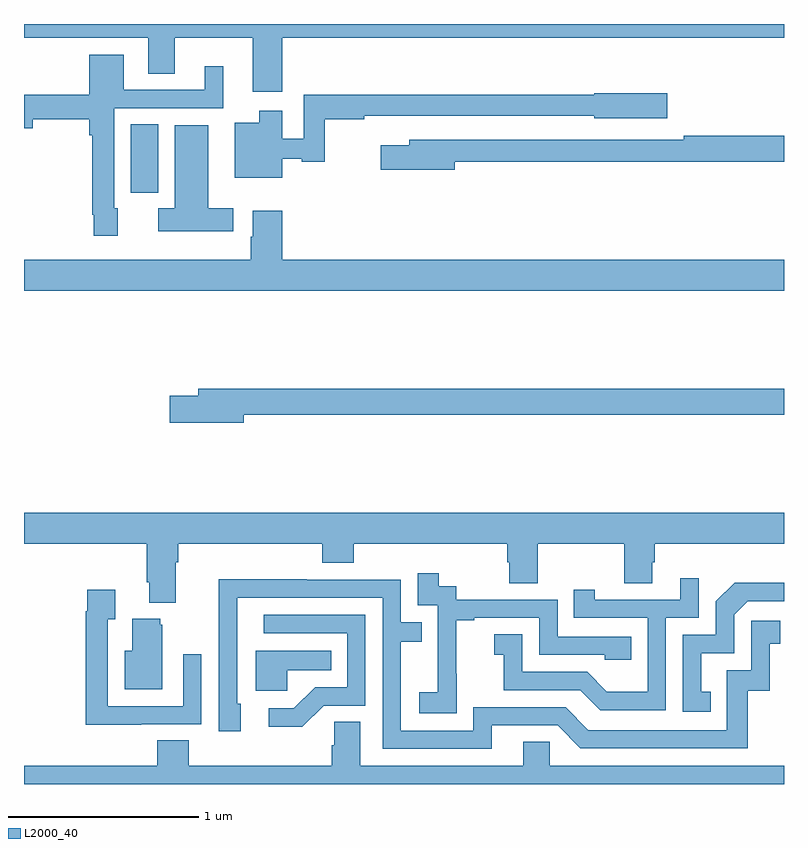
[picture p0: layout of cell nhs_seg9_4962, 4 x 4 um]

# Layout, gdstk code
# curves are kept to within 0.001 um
import gdstk
lib = gdstk.Library(unit=1e-6, precision=1e-09)
def R(c, l, rs):  # rectangles x0, y0, x1, y1
    for r in rs: c.add(gdstk.rectangle(r[:2], r[2:], *l))
def P(c, l, *ps):  # polygons
    for p in ps: c.add(gdstk.Polygon(p, *l))
L2000_40 = (2000, 40)

nhs_seg9_4962 = lib.new_cell('nhs_seg9_4962')
R(nhs_seg9_4962, L2000_40, [(399.563,1187.611,399.706,1187.972)])
P(nhs_seg9_4962, L2000_40, [(400.358,1188.428),(403,1188.428),(403,1188.5),(399,1188.5),(399,1188.428),(399.653,1188.428),(399.653,1188.238),(399.793,1188.238),(399.793,1188.428),(400.205,1188.428),(400.205,1188.144),(400.358,1188.144)],
  [(399.493,1187.529),(399.474,1187.529),(399.474,1188.057),(400.048,1188.057),(400.048,1188.277),(399.95,1188.277),(399.95,1188.153),(399.526,1188.153),(399.526,1188.337),(399.344,1188.337),(399.344,1188.127),(399,1188.127),(399,1187.951),(399.046,1187.951),(399.046,1187.998),(399.344,1187.998),(399.344,1187.915),(399.358,1187.915),(399.358,1187.497),(399.366,1187.497),(399.366,1187.385),(399.493,1187.385)],
  [(400.36,1187.791),(400.461,1187.791),(400.461,1187.776),(400.582,1187.776),(400.582,1187.998),(400.79,1187.998),(400.79,1188.018),(402,1188.018),(402,1188.005),(402.385,1188.005),(402.385,1188.135),(402,1188.135),(402,1188.127),(400.473,1188.127),(400.473,1187.895),(400.36,1187.895),(400.36,1188.043),(400.238,1188.043),(400.238,1187.98),(400.109,1187.98),(400.109,1187.69),(400.36,1187.69)],
  [(400.102,1187.53),(399.97,1187.53),(399.97,1187.968),(399.794,1187.968),(399.794,1187.53),(399.706,1187.53),(399.706,1187.408),(400.102,1187.408)],
  [(401.266,1187.776),(403,1187.776),(403,1187.912),(402.472,1187.912),(402.472,1187.892),(401.027,1187.892),(401.027,1187.863),(400.878,1187.863),(400.878,1187.734),(401.266,1187.734)],
  [(403,1187.26),(400.358,1187.26),(400.358,1187.518),(400.205,1187.518),(400.205,1187.381),(400.193,1187.381),(400.193,1187.26),(399,1187.26),(399,1187.096),(403,1187.096)],
  [(400.156,1186.444),(403,1186.444),(403,1186.58),(399.917,1186.58),(399.917,1186.544),(399.768,1186.544),(399.768,1186.402),(400.156,1186.402)],
  [(399.799,1185.668),(399.812,1185.668),(399.812,1185.764),(400.571,1185.764),(400.571,1185.665),(400.736,1185.665),(400.736,1185.764),(401.543,1185.764),(401.543,1185.666),(401.555,1185.666),(401.555,1185.556),(401.703,1185.556),(401.703,1185.764),(402.16,1185.764),(402.16,1185.556),(402.307,1185.556),(402.307,1185.666),(402.32,1185.666),(402.32,1185.764),(403,1185.764),(403,1185.928),(399,1185.928),(399,1185.764),(399.647,1185.764),(399.647,1185.562),(399.659,1185.562),(399.659,1185.455),(399.799,1185.455)],
  [(401.277,1185.079),(401.276,1185.079),(401.276,1185.363),(401.371,1185.363),(401.371,1185.375),(401.712,1185.375),(401.712,1185.18),(402.057,1185.18),(402.057,1185.153),(402.197,1185.153),(402.197,1185.276),(401.808,1185.276),(401.808,1185.471),(401.274,1185.471),(401.274,1185.54),(401.182,1185.54),(401.182,1185.61),(401.073,1185.61),(401.073,1185.441),(401.178,1185.441),(401.178,1185.212),(401.177,1185.212),(401.177,1184.983),(401.079,1184.983),(401.079,1184.873),(401.277,1184.873)],
  [(402.378,1185.375),(402.552,1185.375),(402.552,1185.583),(402.455,1185.583),(402.455,1185.471),(402.004,1185.471),(402.004,1185.523),(401.893,1185.523),(401.893,1185.375),(402.282,1185.375),(402.282,1184.986),(402.068,1184.986),(401.964,1185.09),(401.622,1185.09),(401.622,1185.289),(401.475,1185.289),(401.475,1185.179),(401.524,1185.179),(401.524,1184.994),(401.927,1184.994),(402.032,1184.889),(402.378,1184.889)],
  [(401.461,1184.808),(401.808,1184.808),(401.928,1184.688),(402.808,1184.688),(402.808,1184.991),(402.926,1184.991),(402.926,1185.237),(402.979,1185.237),(402.979,1185.358),(402.828,1185.358),(402.828,1185.099),(402.699,1185.099),(402.699,1184.784),(401.97,1184.784),(401.85,1184.904),(401.364,1184.904),(401.364,1184.781),(400.983,1184.781),(400.983,1185.25),(401.093,1185.25),(401.093,1185.351),(400.983,1185.351),(400.983,1185.576),(400.487,1185.576),(400.487,1185.578),(400.024,1185.578),(400.024,1185.271),(400.026,1185.271),(400.026,1184.778),(400.141,1184.778),(400.141,1184.922),(400.122,1184.922),(400.123,1185.48),(400.887,1185.48),(400.887,1184.685),(401.461,1184.685)],
  [(402.614,1184.985),(402.565,1184.985),(402.565,1185.189),(402.738,1185.189),(402.738,1185.39),(402.81,1185.462),(403,1185.462),(403,1185.56),(402.74,1185.56),(402.642,1185.462),(402.642,1185.285),(402.468,1185.285),(402.468,1184.88),(402.614,1184.88)],
  [(399.617,1184.814),(399.933,1184.814),(399.933,1185.184),(399.837,1185.184),(399.837,1184.91),(399.441,1184.91),(399.441,1185.367),(399.481,1185.367),(399.481,1185.523),(399.333,1185.523),(399.333,1185.41),(399.325,1185.41),(399.325,1184.813),(399.617,1184.813)],
  [(400.578,1184.913),(400.797,1184.913),(400.797,1185.39),(400.263,1185.39),(400.263,1185.294),(400.701,1185.294),(400.701,1185.009),(400.532,1185.009),(400.421,1184.898),(400.287,1184.898),(400.287,1184.801),(400.465,1184.801)],
  [(399.727,1185.339),(399.716,1185.339),(399.716,1185.37),(399.569,1185.37),(399.569,1185.202),(399.53,1185.202),(399.53,1184.999),(399.727,1184.999)],
  [(400.386,1185.098),(400.616,1185.098),(400.616,1185.202),(400.22,1185.202),(400.22,1184.99),(400.386,1184.99)],
  [(403,1184.596),(401.766,1184.596),(401.766,1184.723),(401.627,1184.723),(401.627,1184.596),(400.771,1184.596),(400.771,1184.828),(400.632,1184.828),(400.632,1184.705),(400.619,1184.705),(400.619,1184.596),(399.866,1184.596),(399.866,1184.729),(399.701,1184.729),(399.701,1184.596),(399,1184.596),(399,1184.5),(403,1184.5)])

lib.write_gds('nhs_seg9_4962.gds')
